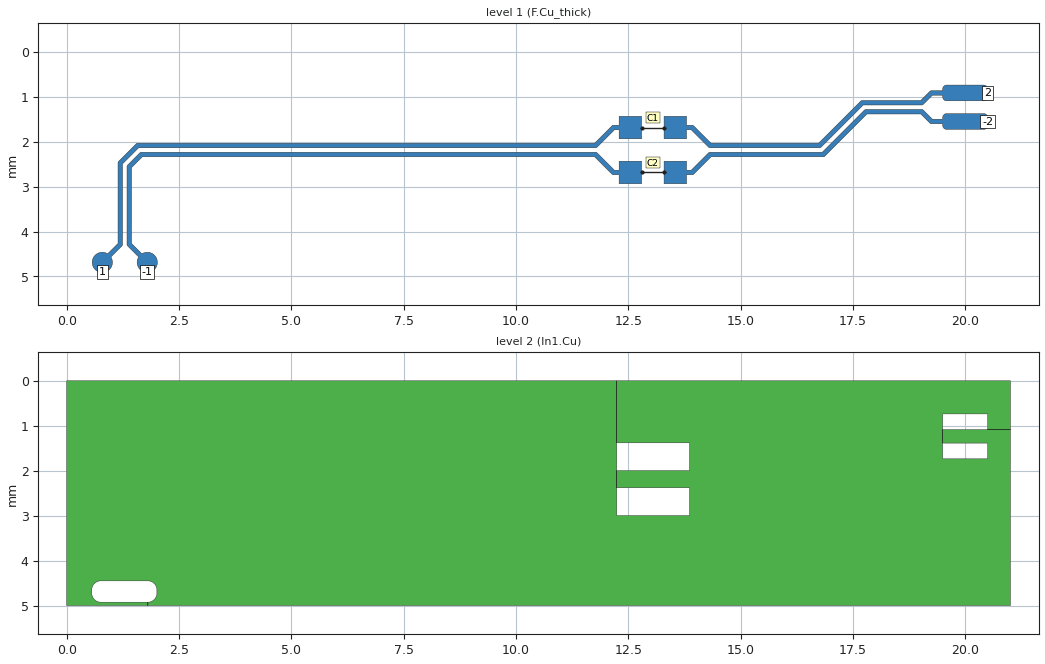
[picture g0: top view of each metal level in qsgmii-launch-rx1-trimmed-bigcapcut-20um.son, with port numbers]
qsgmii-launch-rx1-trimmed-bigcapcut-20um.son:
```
FTYP SONPROJ 19 ! Sonnet Project File
VER 18.56
HEADER
LIC antikernel2.1.65565
DAT 12/20/2024 06:04:44
BUILT_BY_CREATED xgeom 18.52 11/18/2021 20:28:07
BUILT_BY_SAVED sonnet 18.56
MDATE 12/20/2024 06:04:44
HDATE 12/20/2024 06:04:44
ANN Created by dxfgeo, Sonnet Software Inc.
END HEADER
DIM
ANG DEG
CAP PF
CON /OH
FREQ GHZ
IND NH
LNG MM
RES OH
END DIM
CONTROL
VARSWP
OPTIONS  -dj
SPEED 1
CACHE_ABS 2
Q_ACC N
END CONTROL
GEO
TMET "Free Space" 0 FREESPACE 376.7303136 0 0 0
BMET "Free Space" 0 FREESPACE 376.7303136 0 0 0
MET "Copper_1oz_thin" 1 NOR 58000000 0.5 0.035 
MET "Copper_1oz_thick" 2 TMM 58000000 0.5 0.035 2
MET "Copper_1oz_thick_down" 3 TMM 58000000 0.5 0.035 2 CDVY TDWN
MET "Copper_0.5oz_thin" 4 NOR 58000000 0.5 0.017 
MET "Copper_0.5oz_thick" 12 TMM 58000000 0.5 0.017 2
MET "Copper_0.5oz_thick_down" 5 TMM 58000000 0.5 0.017 2 CDVY TDWN
BOX 8 21 5 2100 500 20 0
      5 1 1 0 0 0 0 "Air"
      0.04 3.5 1 0.025 0 0 0 "Soldermask"
      0.076 4.49 1 0.016 0 0 0 "Shengyi_S1000-2M"
      0.1 4.49 1 0.016 0 0 0 "Shengyi_S1000-2M"
      1.038 4.49 1 0.016 0 0 0 "Shengyi_S1000-2M"
      0.1 4.49 1 0.016 0 0 0 "Shengyi_S1000-2M"
      0.076 4.49 1 0.016 0 0 0 "Shengyi_S1000-2M"
      0.04 3.5 1 0.025 0 0 0 "Soldermask"
      5 1 1 0 0 0 0 "Air"
TECHLAY METAL F.Cu_thick L1D0 -2 -65534 CAD F.Cu_thick drawing 
1 0 1 N 1219 1 1 100 100 0 0 0 Y
END
END
TECHLAY VIA Via1 L7D0 -13 -65534 CAD Via1 drawing 
VIA POLYGON
1 0 -1 N 1280 1 1 100 100 0 0 0 Y
TOLEVEL 6 RING NOCOVERS
END
END
TECHLAY METAL F.Cu_thin <UNSPECIFIED> -1 -65534 CAD F.Cu_thin drawing 
1 0 0 N 1231 1 1 100 100 0 0 0 Y
END
END
TECHLAY METAL In1.Cu L2D0 -3 -65534 CAD In1.Cu drawing 
2 0 0 N 1238 1 1 100 100 0 0 0 Y
END
END
TECHLAY METAL In2.Cu_thin L3D0 -4 -65534 CAD In2.Cu drawing 
3 0 3 N 1241 1 1 100 100 0 0 0 Y
END
END
TECHLAY METAL In2.Cu_thick <UNSPECIFIED> -5 -65534 CAD In2.Cu_thick drawing 
3 0 4 N 1243 1 1 100 100 0 0 0 Y
END
END
TECHLAY METAL In3.Cu_thin L4D0 -8 -65534 CAD In5.Cu drawing 
4 0 3 N 1246 1 1 100 100 0 0 0 Y
END
END
TECHLAY METAL In4.Cu L5D0 -10 -65534 CAD In6.Cu drawing 
5 0 0 N 1249 1 1 100 100 0 0 0 Y
END
END
TECHLAY METAL B.Cu_thick L6D0 -12 -65534 CAD B.Cu_thick drawing 
6 0 2 N 1252 1 1 100 100 0 0 0 Y
END
END
TECHLAY METAL B.Cu_thin <UNSPECIFIED> -11 -65534 CAD B.Cu_thin drawing 
6 0 0 N 1254 1 1 100 100 0 0 0 Y
END
END
TECHLAY METAL In3.Cu_thick <UNSPECIFIED> -9 -65534 CAD In5.Cu_thick drawing 
8 0 5 N 1258 1 1 100 100 0 0 0 Y
END
END
DIM STD XDIR 1
POS 1.631234736 -0.08946845781
NOM 1.62
REF1 POLY 1296 1
18
REF2 POLY 1296 1
19
END
DIM STD YDIR 1
POS 0.1220779357 0.4594692943
NOM 0.62
REF1 POLY 1296 1
19
REF2 POLY 1296 1
20
END
LORGN 0 5 U 
POR1 CUP Auto
GNDREF AUTO
TERMW FEED
POLY 35 1
53
2 100 0 0 0 20.493 0.916 
CUPGRP "Auto" LOCAL
ID 1276
END
POR1 CUP Auto
GNDREF AUTO
TERMW FEED
POLY 41 1
57
-2 100 0 0 0 20.493 1.551 
CUPGRP "Auto" LOCAL
ID 1277
END
POR1 CUP Auto
GNDREF FLOAT
TERMW FEED
POLY 1184 1
96
1 100 0 0 0 0.793 4.9 
CUPGRP "Auto" LOCAL
ID 1278
END
POR1 CUP Auto
GNDREF FLOAT
TERMW FEED
POLY 1185 1
96
-1 100 0 0 0 1.793 4.9 
CUPGRP "Auto" LOCAL
ID 1279
END
SMD 1 "C1"
ID 1190
GNDREF FLOAT
DRP1 LEFT NONE 1
DRP1 RIGHT NONE 1
SBOX 12.918 13.168 1.6485 1.7235
PBSHW N
LPOS 13.043 1.6485
TYPE IDEAL CAP 100000
SMDP 1 12.793 1.686 L 3 1 
EXSMDP
GNDREF FLOAT
TERMW FEED
END EXSMDP
SMDP 1 13.293 1.686 R 4 2 
EXSMDP
GNDREF FLOAT
TERMW FEED
END EXSMDP
END
SMD 1 "C2"
ID 1196
GNDREF FLOAT
DRP1 LEFT NONE 1
DRP1 RIGHT NONE 1
SBOX 12.918 13.168 2.6485 2.7235
PBSHW N
LPOS 13.043 2.6485
TYPE IDEAL CAP 100000
SMDP 1 12.793 2.686 L 5 1 
EXSMDP
GNDREF FLOAT
TERMW FEED
END EXSMDP
SMDP 1 13.293 2.686 R 6 2 
EXSMDP
GNDREF FLOAT
TERMW FEED
END EXSMDP
END
NUM 6
1 114 1 N 35 1 1 100 100 0 0 0 Y
TLAYNAM F.Cu_thick INH
13.293 1.436
13.793 1.436
13.793 1.636
13.925 1.636
13.93 1.637
13.935 1.639
13.939 1.641
13.944 1.643
13.952 1.649
14.339 2.036
16.731 2.036
17.663 1.104
17.666 1.1
17.678 1.091
17.682 1.089
17.687 1.087
17.691 1.085
17.696 1.084
19.004 1.084
19.209 0.879
19.217 0.873
19.222 0.871
19.226 0.869
19.231 0.867
19.236 0.866
19.493 0.866
19.493 0.824
19.494 0.816
19.496 0.807
19.498 0.799
19.501 0.791
19.505 0.784
19.51 0.776
19.528 0.758
19.536 0.753
19.543 0.749
19.551 0.746
19.559 0.744
19.568 0.742
19.576 0.741
20.41 0.741
20.418 0.742
20.427 0.744
20.435 0.746
20.443 0.749
20.45 0.753
20.458 0.758
20.476 0.776
20.481 0.784
20.485 0.791
20.488 0.799
20.49 0.807
20.492 0.816
20.493 0.824
20.493 1.008
20.492 1.016
20.49 1.025
20.488 1.033
20.485 1.041
20.481 1.048
20.476 1.056
20.458 1.074
20.45 1.079
20.443 1.083
20.435 1.086
20.427 1.088
20.418 1.09
20.41 1.091
19.576 1.091
19.568 1.09
19.559 1.088
19.551 1.086
19.543 1.083
19.536 1.079
19.528 1.074
19.51 1.056
19.505 1.048
19.501 1.041
19.498 1.033
19.496 1.025
19.494 1.016
19.493 1.008
19.493 0.966
19.264 0.966
19.059 1.171
19.051 1.177
19.048 1.178
19.047 1.179
19.037 1.183
19.032 1.184
17.725 1.184
16.785 2.124
16.781 2.127
16.78 2.127
16.778 2.129
16.777 2.129
16.776 2.13
16.773 2.132
16.768 2.134
16.764 2.135
16.754 2.137
16.749 2.137
16.744 2.136
14.311 2.136
14.306 2.135
14.301 2.133
14.297 2.131
14.292 2.129
14.284 2.123
13.897 1.736
13.793 1.736
13.793 1.936
13.293 1.936
13.293 1.436
END
1 115 1 N 41 1 1 100 100 0 0 0 Y
TLAYNAM F.Cu_thick INH
13.293 2.436
13.793 2.436
13.793 2.636
13.897 2.636
14.277 2.256
14.28 2.252
14.292 2.243
14.296 2.241
14.301 2.239
14.305 2.237
14.31 2.236
16.814 2.236
17.746 1.304
17.749 1.3
17.761 1.291
17.765 1.289
17.77 1.287
17.774 1.285
17.779 1.284
19.018 1.284
19.023 1.283
19.028 1.283
19.038 1.285
19.042 1.286
19.047 1.288
19.051 1.291
19.055 1.293
19.059 1.296
19.264 1.501
19.493 1.501
19.493 1.459
19.494 1.451
19.496 1.442
19.498 1.434
19.501 1.426
19.505 1.419
19.51 1.411
19.528 1.393
19.536 1.388
19.543 1.384
19.551 1.381
19.559 1.379
19.568 1.377
19.576 1.376
20.41 1.376
20.418 1.377
20.427 1.379
20.435 1.381
20.443 1.384
20.45 1.388
20.458 1.393
20.476 1.411
20.481 1.419
20.485 1.426
20.488 1.434
20.49 1.442
20.492 1.451
20.493 1.459
20.493 1.643
20.492 1.651
20.49 1.66
20.488 1.668
20.485 1.676
20.481 1.683
20.476 1.691
20.458 1.709
20.45 1.714
20.443 1.718
20.435 1.721
20.427 1.723
20.418 1.725
20.41 1.726
19.576 1.726
19.568 1.725
19.559 1.723
19.551 1.721
19.543 1.718
19.536 1.714
19.528 1.709
19.51 1.691
19.505 1.683
19.501 1.676
19.498 1.668
19.496 1.66
19.494 1.651
19.493 1.643
19.493 1.601
19.236 1.601
19.231 1.6
19.226 1.598
19.222 1.596
19.217 1.594
19.209 1.588
19.005 1.384
17.808 1.384
16.868 2.324
16.864 2.327
16.86 2.329
16.856 2.332
16.851 2.334
16.847 2.335
16.837 2.337
16.832 2.337
16.827 2.336
14.339 2.336
13.952 2.723
13.944 2.729
13.939 2.731
13.935 2.733
13.93 2.735
13.925 2.736
13.793 2.736
13.793 2.936
13.293 2.936
13.293 2.436
END
1 99 1 N 1184 1 1 100 100 0 0 0 Y
TLAYNAM F.Cu_thick INH
0.869 4.898
0.889 4.889
0.909 4.879
0.927 4.867
0.944 4.853
0.96 4.837
0.974 4.82
0.986 4.802
0.996 4.782
1.005 4.762
1.011 4.741
1.016 4.719
1.018 4.697
1.018 4.675
1.016 4.653
1.011 4.631
1.005 4.61
0.996 4.59
0.984 4.566
1.23 4.32
1.236 4.312
1.238 4.307
1.24 4.303
1.242 4.298
1.243 4.293
1.243 2.494
1.601 2.136
11.776 2.136
11.78 2.135
11.785 2.133
11.789 2.131
11.79 2.131
11.794 2.129
11.802 2.123
12.189 1.736
12.293 1.736
12.293 1.936
12.793 1.936
12.793 1.436
12.293 1.436
12.293 1.636
12.161 1.636
12.156 1.637
12.151 1.639
12.147 1.641
12.142 1.643
12.134 1.649
11.747 2.036
1.573 2.036
1.568 2.037
1.558 2.041
1.554 2.043
1.546 2.049
1.156 2.439
1.15 2.447
1.148 2.451
1.148 2.452
1.146 2.456
1.144 2.461
1.143 2.465
1.143 4.265
0.913 4.495
0.889 4.483
0.869 4.474
0.848 4.468
0.826 4.463
0.804 4.461
0.782 4.461
0.76 4.463
0.738 4.468
0.717 4.474
0.697 4.483
0.677 4.493
0.659 4.505
0.642 4.519
0.626 4.535
0.612 4.552
0.6 4.57
0.59 4.59
0.581 4.61
0.575 4.631
0.57 4.653
0.568 4.675
0.568 4.697
0.57 4.719
0.575 4.741
0.581 4.762
0.59 4.782
0.6 4.802
0.612 4.82
0.626 4.837
0.642 4.853
0.659 4.867
0.677 4.879
0.697 4.889
0.717 4.898
0.724 4.9
0.862 4.9
0.869 4.898
END
1 99 1 N 1185 1 1 100 100 0 0 0 Y
TLAYNAM F.Cu_thick INH
1.869 4.898
1.889 4.889
1.909 4.879
1.927 4.867
1.944 4.853
1.96 4.837
1.974 4.82
1.986 4.802
1.996 4.782
2.005 4.762
2.011 4.741
2.016 4.719
2.018 4.697
2.018 4.675
2.016 4.653
2.011 4.631
2.005 4.61
1.996 4.59
1.986 4.57
1.974 4.552
1.96 4.535
1.944 4.519
1.927 4.505
1.909 4.493
1.889 4.483
1.869 4.474
1.848 4.468
1.826 4.463
1.804 4.461
1.782 4.461
1.76 4.463
1.738 4.468
1.717 4.474
1.697 4.483
1.673 4.495
1.443 4.265
1.443 2.577
1.684 2.336
11.747 2.336
12.134 2.723
12.142 2.729
12.147 2.731
12.151 2.733
12.156 2.735
12.161 2.736
12.293 2.736
12.293 2.936
12.793 2.936
12.793 2.436
12.293 2.436
12.293 2.636
12.189 2.636
11.802 2.249
11.794 2.243
11.79 2.241
11.789 2.241
11.785 2.239
11.78 2.237
11.776 2.236
1.656 2.236
1.651 2.237
1.641 2.241
1.637 2.243
1.629 2.249
1.356 2.522
1.35 2.53
1.348 2.534
1.348 2.535
1.346 2.539
1.344 2.544
1.343 2.548
1.343 4.293
1.344 4.298
1.346 4.303
1.348 4.307
1.35 4.312
1.356 4.32
1.602 4.566
1.59 4.59
1.581 4.61
1.575 4.631
1.57 4.653
1.568 4.675
1.568 4.697
1.57 4.719
1.575 4.741
1.581 4.762
1.59 4.782
1.6 4.802
1.612 4.82
1.626 4.837
1.642 4.853
1.659 4.867
1.677 4.879
1.697 4.889
1.717 4.898
1.724 4.9
1.862 4.9
1.869 4.898
END
1 5 1 N 1203 1 1 100 100 0 0 0 Y
TLAYNAM F.Cu_thick INH
20.49 0.916
20.493 0.916
20.493 0.92
20.49 0.92
20.49 0.916
END
2 65 0 N 1296 1 1 100 100 0 0 0 Y
TLAYNAM In1.Cu INH
21 1.086
21 1.086
20.493 1.086
19.493 1.086
19.493 1.386
20.493 1.386
20.493 1.736
19.493 1.736
19.493 1.386
19.493 1.086
19.493 1.086
19.493 0.736
20.493 0.736
20.493 1.086
21 1.086
21 0.045
21 0
12.24 0
12.24 1.38
13.86 1.38
13.86 2
12.24 2
12.24 2.38
13.86 2.38
13.86 3
12.24 3
12.24 2.38
12.24 2
12.24 2
12.24 1.38
12.24 0
0 0
0 4.06
0 5
1.808 5
1.808 4.926
0.758 4.926
0.719 4.924
0.646 4.894
0.59 4.838
0.56 4.765
0.558 4.726
0.558 4.651
0.56 4.612
0.59 4.539
0.646 4.483
0.719 4.453
0.758 4.451
1.808 4.451
1.847 4.453
1.92 4.483
1.976 4.539
2.006 4.612
2.007 4.639
2.008 4.651
2.008 4.726
2.007 4.739
2.006 4.765
1.976 4.838
1.92 4.894
1.847 4.924
1.808 4.926
1.808 5
21 5
21 1.086
END
END GEO
OPT
MAX 100
END OPT
VARSWP
ENABLED Y
FREQ Y AY ABS_ENTRY 0.01 20.0 -1 300 
END
END VARSWP
```
